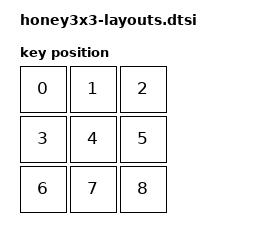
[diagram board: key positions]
/*
 * Copyright (c) 2026 The ZMK Contributors
 *
 * SPDX-License-Identifier: MIT
 */
#include <physical_layouts.dtsi>

/ {
    horizontal_physical_layout: horizontal_physical_layout {
        compatible = "zmk,physical-layout";
        display-name = "Horizontal Layout";
            //                     w   h        x   y  rot rx ry
        keys
            = <&key_physical_attrs 100 100      0   0    0 0 0>
            , <&key_physical_attrs 100 100    100   0    0 0 0>
            , <&key_physical_attrs 100 100    200   0    0 0 0>
            , <&key_physical_attrs 100 100      0 100    0 0 0>
            , <&key_physical_attrs 100 100    100 100    0 0 0>
            , <&key_physical_attrs 100 100    200 100    0 0 0>
            , <&key_physical_attrs 100 100      0 200    0 0 0>
            , <&key_physical_attrs 100 100    100 200    0 0 0>
            , <&key_physical_attrs 100 100    200 200    0 0 0>
            ;
    };

position_map {
        compatible = "zmk,physical-layout-position-map";

        horizontal_map: horizontal {
            physical-layout = <&horizontal_physical_layout>;
            positions
                = < 0  1  2 >
                , < 3  4  5 >
                , < 6  7  8 >
            ;
        };
};
};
